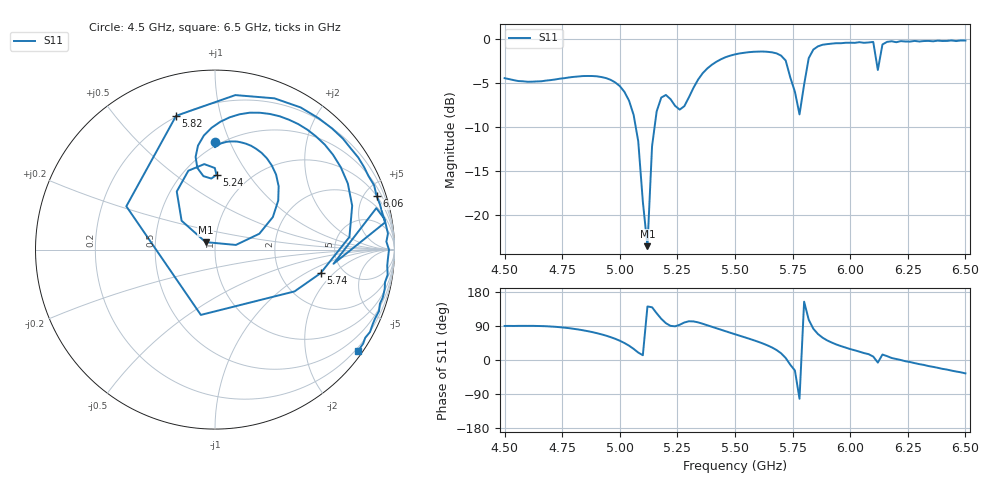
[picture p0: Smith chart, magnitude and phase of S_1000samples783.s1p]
! TOUCHSTONE file generated by CST MICROWAVE STUDIO
! Date and time: Sat Oct 29 09:05:29 2022
! Project name: L.cst
! Parameters = {Di=1.27; Epsilon_r=1.56; InnerDiameter=1.27; Length=2; Lf=10; Lg=60; OuterConductorThickness=0.2921; OuterDiameter=3.6; Wf=3; Wp=41.2; de=1.5; df=6.8; g=0.8; gx=1.01076; gy=4.20191; h=2.34; hf=1.524; px=13.9853; py=11.9437; w=9.7; wx=12.9746; wy=7.74182}
! Header version: 2018
! Port assignment regex: !\s*Touchstone port\s*([0-9]+)\s*=\s*(CST MWS port|CST DS port)\s*([0-9]+|Zmin|Zmax)\s*\(\"(.*)\"\)(\s*mode\s*([0-9]+))?.*
! Touchstone port assignment:
! Touchstone port 1 = CST MWS port 1 ("")
# GHz S DB R 50
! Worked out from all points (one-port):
!   101 points, 4.5 GHz to 6.5 GHz, reference 50 ohm
!   lowest |S11| = -23.5 dB at 5.12 GHz (marker M1), VSWR 1.14, Z = 44.9 + j3.76 ohm
!   |S11| at or under -10 dB: 5.069 GHz to 5.151 GHz (81.94 MHz wide, 1.6 % of centre)
!   S11 on the Smith chart (normalised r, x): 4.5 GHz: 0.47, +0.88; 5.24 GHz: 0.71, +0.72; 5.74 GHz: 3.41, -1.41; 5.82 GHz: 0.20, +0.73; 6.06 GHz: 1.02, +6.04; 6.5 GHz: 0.13, -3.14
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4.5  -4.47 89.8
4.76  -4.47 85.3
5  -5.37 50.8
5.08  -11.62 19.7
5.12  -23.53 141.3
5.14  -12.18 139.2
5.16  -8.23 123.4
5.2  -6.38 97.2
5.24  -7.61 88.8
5.26  -8.04 93.0
5.34  -4.62 99.3
5.5  -1.77 68.0
5.66  -1.54 33.2
5.72  -2.47 5.4
5.74  -4.39 -12.6
5.76  -6.01 -27.7
5.78  -8.58 -102.2
5.8  -5.20 154.0
5.82  -2.20 106.2
5.84  -1.23 82.5
5.88  -0.68 58.9
6  -0.45 28.8
6.06  -0.46 18.3
6.1  -0.36 9.1
6.12  -3.54 -6.8
6.14  -0.65 14.4
6.26  -0.32 -5.4
6.5  -0.20 -35.3
